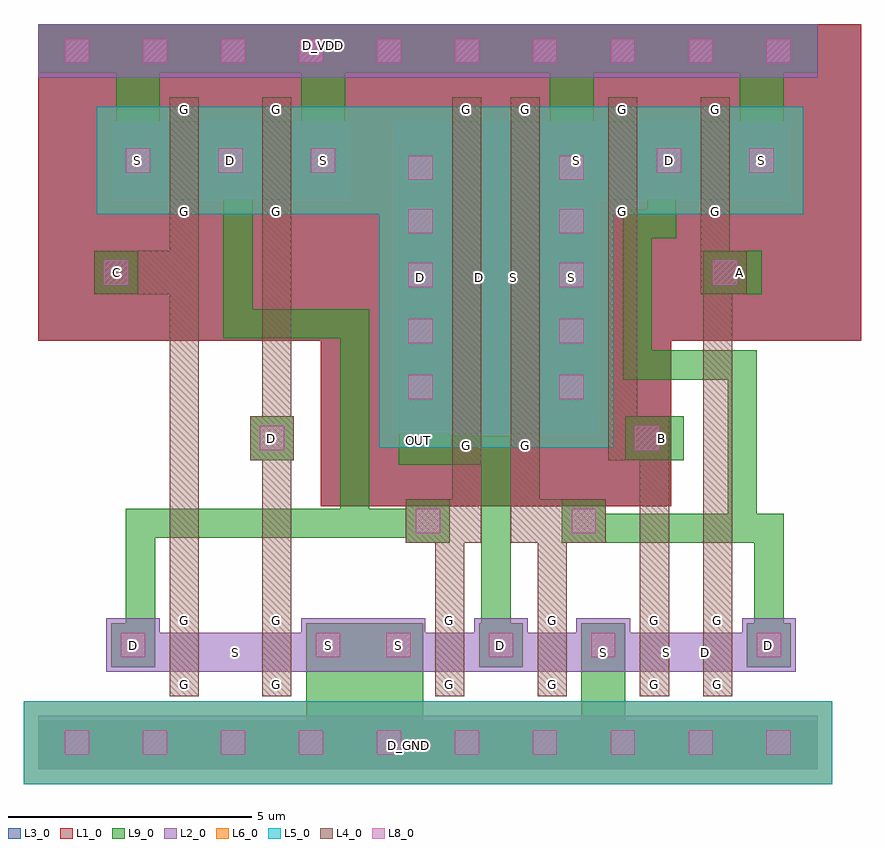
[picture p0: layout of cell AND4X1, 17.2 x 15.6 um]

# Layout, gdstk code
import gdstk
lib = gdstk.Library(unit=1e-6, precision=1e-09)
def R(c, l, rs):  # rectangles x0, y0, x1, y1
    for r in rs: c.add(gdstk.rectangle(r[:2], r[2:], *l))
def A(c, l, x, y, w, h, nx, ny, dx, dy):  # array of equal rectangles
    R(c, l, [(x+i*dx, y+j*dy, x+i*dx+w, y+j*dy+h) for i in range(nx) for j in range(ny)])
def P(c, l, *ps):  # polygons
    for p in ps: c.add(gdstk.Polygon(p, *l))
L1_0 = (1, 0)
L2_0 = (2, 0)
L3_0 = (3, 0)
L4_0 = (4, 0)
L5_0 = (5, 0)
L6_0 = (6, 0)
L8_0 = (8, 0)
L9_0 = (9, 0)

and4x1 = lib.new_cell('AND4X1')
A(and4x1, L1_0, 0, 8.8, 1.6, 6.5, 10, 1, 1.6, 0)
R(and4x1, L1_0, [(5.8,5.4,11.8,14.8), (7,5.4,13,14.8), (15.95,8.8,16.9,15.3), (0,10.2,6,14.8), (1.9,10.2,7.9,14.8), (9,10.2,15,14.8), (10.9,10.2,16.9,14.8)])
A(and4x1, L2_0, 0, 0, 1.6, 1.1, 10, 2, 1.6, 14.2)
A(and4x1, L2_0, 7.95, 2, 1, 0.8, 3, 1, 2.1, 0)
R(and4x1, L2_0, [(1.4,2,2.5,3.1), (2.5,2,3.5,2.8), (3.3,2,4.4,2.8), (3.5,2,4.6,2.8), (4.4,2,5.4,2.8), (5.4,2,6.5,3.1), (5.4,2,6.5,3.1), (6.5,2,6.85,3.1), (6.85,2,7.95,3.1), (8.95,2,10.05,3.1), (8.95,2,10.05,3.1), (11.05,2,12.15,2.8), (11.05,2,12.15,3.1), (12.35,2,13.45,2.8), (13.15,2,14.25,2.8), (13.45,2,14.45,2.8), (14.45,2,15.55,3.1), (7.3,6.9,8.4,13.3), (8.4,6.9,9.2,13.3), (8.5,6.9,9.6,13.3), (9.2,6.9,10.3,13.3), (9.6,6.9,10.4,13.3), (10.4,6.9,11.5,13.3), (1.5,11.7,2.6,13.3), (2.6,11.7,3.4,13.3), (3.4,11.7,4.5,13.3), (3.4,11.7,4.5,13.3), (4.5,11.7,5.3,13.3), (5.3,11.7,6.4,13.3), (10.5,11.7,11.6,13.3), (11.6,11.7,12.4,13.3), (12.4,11.7,13.5,13.3), (12.4,11.7,13.5,13.3), (13.5,11.7,14.3,13.3), (14.3,11.7,15.4,13.3)])
A(and4x1, L3_0, 0, 8.8, 1.6, 6.5, 10, 1, 1.6, 0)
R(and4x1, L3_0, [(5.8,5.4,11.8,14.8), (7,5.4,13,14.8), (15.95,8.8,16.9,15.3), (0,10.2,6,14.8), (1.9,10.2,7.9,14.8), (9,10.2,15,14.8), (10.9,10.2,16.9,14.8)])
A(and4x1, L4_0, 8.15, 1.5, 0.6, 0.5, 3, 2, 2.1, 1.3)
A(and4x1, L4_0, 8.15, 1.5, 0.6, 1.8, 3, 1, 2.1, 0)
R(and4x1, L4_0, [(2.7,1.5,3.3,2), (2.7,1.5,3.3,3.3), (2.7,1.5,3.3,4), (4.6,1.5,5.2,2), (4.6,1.5,5.2,3.3), (13.65,1.5,14.25,2), (13.65,1.5,14.25,3.3), (2.7,2.8,3.3,3.3), (4.6,2.8,5.2,3.3), (13.65,2.8,14.25,3.3), (8.15,3.2,8.75,5.55), (12.35,3.25,12.95,6.35), (4.6,3.3,5.2,11.35), (10.25,3.3,10.85,5.55), (13.65,3.3,14.25,9.75), (2.7,4,3.3,11.2), (7.55,4.65,8.45,5.55), (10.75,4.65,11.65,5.55), (4.35,6.35,5.25,7.25), (12.05,6.35,12.95,7.25), (8.5,6.4,9.1,13.8), (8.5,6.4,9.1,6.9), (9.7,6.4,10.3,13.8), (9.7,6.4,10.3,6.9), (1.15,9.75,2.05,10.65), (2.05,9.75,3.1,10.65), (13.6,9.75,14.2,11.2), (13.65,9.75,14.55,10.65), (2.7,11.2,3.3,11.7), (2.7,11.2,3.3,13.8), (4.6,11.2,5.2,11.7), (4.6,11.2,5.2,13.8), (11.7,11.2,12.3,11.7), (11.7,11.2,12.3,13.8), (13.6,11.2,14.2,11.7), (13.6,11.2,14.2,13.8), (2.7,13.3,3.3,13.8), (4.6,13.3,5.2,13.8), (8.5,13.3,9.1,13.8), (9.7,13.3,10.3,13.8), (11.7,13.3,12.3,13.8), (13.6,13.3,14.2,13.8)])
P(and4x1, L4_0, [(11.7,6.35),(12.45,6.35),(12.45,7.25),(12.3,7.25),(12.3,11.2),(11.7,11.2)],
  [(9.7,4.65),(10.75,4.65),(10.75,5.55),(10.3,5.55),(10.3,6.4),(9.7,6.4)],
  [(8.4,4.65),(9.1,4.65),(9.1,6.4),(8.5,6.4),(8.5,5.55),(8.4,5.55)])
A(and4x1, L5_0, 1.6, -0.3, 1.6, 1.7, 8, 1, 1.6, 0)
R(and4x1, L5_0, [(-0.3,-0.3,1.6,1.4), (14.4,-0.3,16.3,1.4), (7,6.6,10.6,13.6), (8.2,6.6,11.8,13.6), (1.2,11.4,4.8,13.6), (3.1,11.4,6.7,13.6), (6.7,11.4,7.2,13.6), (10.2,11.4,13.8,13.6), (12.1,11.4,15.7,13.6)])
A(and4x1, L6_0, 1.6, -0.3, 1.6, 1.7, 8, 1, 1.6, 0)
R(and4x1, L6_0, [(-0.3,-0.3,1.6,1.4), (14.4,-0.3,16.3,1.4), (7,6.6,10.6,13.6), (8.2,6.6,11.8,13.6), (1.2,11.4,4.8,13.6), (3.1,11.4,6.7,13.6), (6.7,11.4,7.2,13.6), (10.2,11.4,13.8,13.6), (12.1,11.4,15.7,13.6)])
A(and4x1, L8_0, 0.55, 0.3, 0.5, 0.5, 10, 2, 1.6, 14.2)
A(and4x1, L8_0, 7.6, 7.6, 0.5, 0.5, 1, 3, 0, 1.15)
A(and4x1, L8_0, 10.7, 7.6, 0.5, 0.5, 1, 3, 0, 1.15)
R(and4x1, L8_0, [(1.7,2.3,2.2,2.8), (5.7,2.3,6.2,2.8), (5.7,2.3,6.2,2.8), (7.15,2.3,7.65,2.8), (9.25,2.3,9.75,2.8), (9.25,2.3,9.75,2.8), (11.35,2.3,11.85,2.8), (14.75,2.3,15.25,2.8), (7.75,4.85,8.25,5.35), (10.95,4.85,11.45,5.35), (4.55,6.55,5.05,7.05), (12.25,6.55,12.75,7.05), (1.35,9.95,1.85,10.45), (13.85,9.95,14.35,10.45), (7.6,11,8.1,11.5), (10.7,11,11.2,11.5), (7.6,12.1,8.1,12.6), (10.7,12.1,11.2,12.6), (1.8,12.25,2.3,12.75), (3.7,12.25,4.2,12.75), (3.7,12.25,4.2,12.75), (5.6,12.25,6.1,12.75), (12.7,12.25,13.2,12.75), (12.7,12.25,13.2,12.75), (14.6,12.25,15.1,12.75)])
A(and4x1, L9_0, 0, 0, 1.6, 1, 10, 2, 1.6, 14.3)
R(and4x1, L9_0, [(5.5,0.15,7.9,3), (7.3,0.2,7.9,0.8), (1.5,2.1,2.4,3), (5.5,2.1,6.4,3), (5.5,2.1,6.4,3), (6.95,2.1,7.85,3), (9.05,2.1,9.95,3), (9.05,2.1,9.95,3), (11.15,2.1,12.05,3), (14.55,2.1,15.45,3), (7.55,4.65,8.45,5.55), (10.75,4.65,11.65,5.55), (4.35,6.35,5.25,7.25), (7.55,6.35,8.45,7.25), (12.05,6.35,12.95,7.25), (12.35,6.35,13.25,7.25), (4.5,6.5,5.1,7.1), (7.75,6.5,8.35,7.1), (7.4,6.55,8.3,7.4), (7.4,7.4,8.3,12.8), (10.5,7.4,11.4,12.8), (1.15,9.75,2.05,10.65), (13.65,9.75,14.55,10.65), (13.95,9.75,14.85,10.65), (1.3,9.9,1.9,10.5), (1.6,12,2.5,13), (3.5,12,4.4,13), (3.5,12,4.4,13), (5.4,12,6.3,13), (12.5,12,13.4,13), (12.5,12,13.4,13), (14.4,12,15.3,13), (5.4,12.1,6.3,15.2), (5.55,14.55,6.15,15.15)])
P(and4x1, L9_0, [(3.8,8.85),(6.2,8.85),(6.2,4.75),(6.8,4.75),(6.8,9.45),(4.4,9.45),(4.4,12.6),(3.8,12.6)],
  [(12,8),(14.15,8),(14.15,4.65),(14.75,4.65),(14.75,8.6),(12.6,8.6),(12.6,10.9),(13.1,10.9),(13.1,12.6),(12.5,12.6),(12.5,11.5),(12,11.5)],
  [(11.05,4.65),(14.7,4.65),(14.7,2.4),(15.3,2.4),(15.3,5.25),(11.05,5.25)],
  [(0.7,14.3),(1.6,14.3),(1.6,12.1),(2.5,12.1),(2.5,15.2),(0.7,15.2)],
  [(13.5,14.3),(14.4,14.3),(14.4,12.1),(15.3,12.1),(15.3,15.2),(13.5,15.2)],
  [(10.5,11.9),(11.4,11.9),(11.4,14.3),(12.1,14.3),(12.1,15.2),(10.5,15.2)],
  [(7.4,6.25),(9.1,6.25),(9.1,2.4),(9.7,2.4),(9.7,6.85),(8,6.85),(8,7.1),(7.4,7.1)],
  [(1.8,2.4),(2.4,2.4),(2.4,4.75),(8.15,4.75),(8.15,5.35),(1.8,5.35)],
  [(10.25,0.1),(12.05,0.1),(12.05,3),(11.15,3),(11.15,1),(10.25,1)])
and4x1.add(gdstk.Label('G', (10,6.652), layer=4, texttype=0))
and4x1.add(gdstk.Label('G', (10,13.552), layer=4, texttype=0))
and4x1.add(gdstk.Label('S', (10.951,10.101), layer=9, texttype=0))
and4x1.add(gdstk.Label('D', (9.051,10.101), layer=2, texttype=0))
and4x1.add(gdstk.Label('G', (13.9,11.452), layer=4, texttype=0))
and4x1.add(gdstk.Label('G', (13.9,13.552), layer=4, texttype=0))
and4x1.add(gdstk.Label('S', (14.851,12.501), layer=9, texttype=0))
and4x1.add(gdstk.Label('D', (12.951,12.501), layer=9, texttype=0))
and4x1.add(gdstk.Label('G', (12,13.548), layer=4, texttype=0))
and4x1.add(gdstk.Label('G', (12,11.448), layer=4, texttype=0))
and4x1.add(gdstk.Label('S', (11.049,12.499), layer=2, texttype=0))
and4x1.add(gdstk.Label('D', (12.949,12.499), layer=9, texttype=0))
and4x1.add(gdstk.Label('G', (3,11.452), layer=4, texttype=0))
and4x1.add(gdstk.Label('G', (3,13.552), layer=4, texttype=0))
and4x1.add(gdstk.Label('S', (2.049,12.501), layer=9, texttype=0))
and4x1.add(gdstk.Label('D', (3.949,12.501), layer=9, texttype=0))
and4x1.add(gdstk.Label('G', (4.9,13.548), layer=4, texttype=0))
and4x1.add(gdstk.Label('G', (4.9,11.448), layer=4, texttype=0))
and4x1.add(gdstk.Label('S', (5.851,12.499), layer=9, texttype=0))
and4x1.add(gdstk.Label('D', (3.951,12.499), layer=9, texttype=0))
and4x1.add(gdstk.Label('G', (8.8,6.652), layer=4, texttype=0))
and4x1.add(gdstk.Label('G', (8.8,13.552), layer=4, texttype=0))
and4x1.add(gdstk.Label('S', (9.751,10.101), layer=2, texttype=0))
and4x1.add(gdstk.Label('D', (7.851,10.101), layer=9, texttype=0))
and4x1.add(gdstk.Label('G', (13.95,1.752), layer=4, texttype=0))
and4x1.add(gdstk.Label('G', (13.95,3.052), layer=4, texttype=0))
and4x1.add(gdstk.Label('S', (12.899,2.401), layer=2, texttype=0))
and4x1.add(gdstk.Label('D', (14.999,2.551), layer=9, texttype=0))
and4x1.add(gdstk.Label('G', (3,1.752), layer=4, texttype=0))
and4x1.add(gdstk.Label('G', (3,3.052), layer=4, texttype=0))
and4x1.add(gdstk.Label('S', (4.051,2.401), layer=2, texttype=0))
and4x1.add(gdstk.Label('D', (1.951,2.551), layer=9, texttype=0))
and4x1.add(gdstk.Label('D', (13.699,2.401), layer=2, texttype=0))
and4x1.add(gdstk.Label('G', (12.65,1.752), layer=4, texttype=0))
and4x1.add(gdstk.Label('G', (12.65,3.052), layer=4, texttype=0))
and4x1.add(gdstk.Label('S', (11.599,2.401), layer=2, texttype=0))
and4x1.add(gdstk.Label('D', (3.851,2.401), layer=2, texttype=0))
and4x1.add(gdstk.Label('G', (4.9,1.752), layer=4, texttype=0))
and4x1.add(gdstk.Label('G', (4.9,3.052), layer=4, texttype=0))
and4x1.add(gdstk.Label('S', (5.951,2.551), layer=9, texttype=0))
and4x1.add(gdstk.Label('G', (8.45,1.752), layer=4, texttype=0))
and4x1.add(gdstk.Label('G', (8.45,3.052), layer=4, texttype=0))
and4x1.add(gdstk.Label('S', (7.399,2.551), layer=9, texttype=0))
and4x1.add(gdstk.Label('D', (9.499,2.551), layer=9, texttype=0))
and4x1.add(gdstk.Label('G', (10.55,1.752), layer=4, texttype=0))
and4x1.add(gdstk.Label('G', (10.55,3.052), layer=4, texttype=0))
and4x1.add(gdstk.Label('S', (11.601,2.551), layer=9, texttype=0))
and4x1.add(gdstk.Label('D', (9.501,2.551), layer=9, texttype=0))
and4x1.add(gdstk.Label('D_GND', (7.6,0.5), layer=50, texttype=0))
and4x1.add(gdstk.Label('D_VDD', (5.85,14.85), layer=50, texttype=0))
and4x1.add(gdstk.Label('B', (12.8,6.8), layer=50, texttype=0))
and4x1.add(gdstk.Label('A', (14.4,10.2), layer=50, texttype=0))
and4x1.add(gdstk.Label('C', (1.6,10.2), layer=50, texttype=0))
and4x1.add(gdstk.Label('OUT', (7.8,6.75), layer=50, texttype=0))
and4x1.add(gdstk.Label('D', (4.8,6.8), layer=50, texttype=0))

lib.write_gds('AND4X1.gds')
